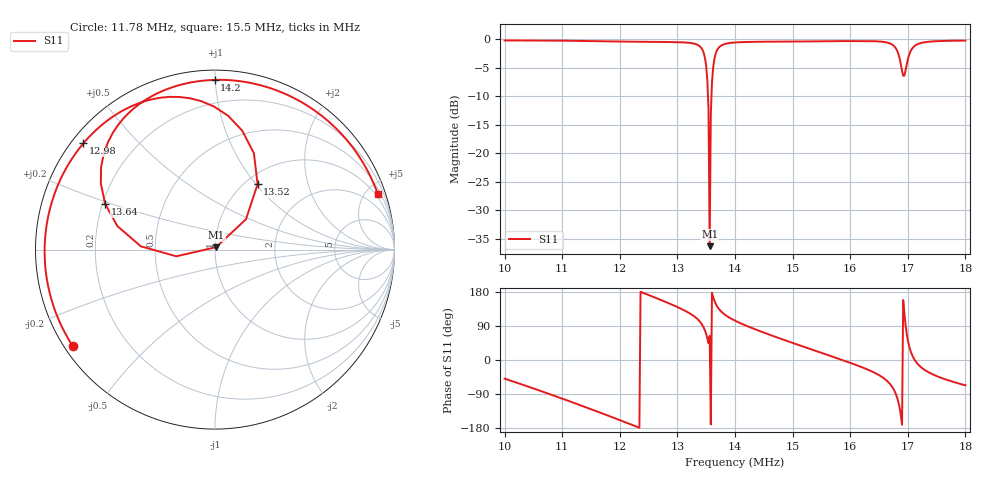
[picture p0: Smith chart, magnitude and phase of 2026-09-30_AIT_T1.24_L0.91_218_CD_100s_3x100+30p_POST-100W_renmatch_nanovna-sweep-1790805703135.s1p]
! NanoVNA Web complex sweep
! Processing: original sample grid, no browser smoothing
# Hz S RI R 50
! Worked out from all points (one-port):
!   401 points, 10 MHz to 18 MHz, reference 50 ohm
!   lowest |S11| = -36.3 dB at 13.56 MHz (marker M1), VSWR 1.03, Z = 50.7 + j1.4 ohm
!   |S11| at or under -10 dB: 13.53088 MHz to 13.59159 MHz (60.71 kHz wide, 0.448 % of centre)
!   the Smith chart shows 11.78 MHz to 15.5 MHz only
!   S11 on the Smith chart (normalised r, x): 11.78 MHz: 0.02, -0.31; 12.98 MHz: 0.03, +0.35; 13.52 MHz: 1.13, +1.02; 13.64 MHz: 0.21, +0.19; 14.2 MHz: 0.06, +1.00; 15.5 MHz: 0.77, +5.89
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1e7  0.6361 -0.7383
1.1e7  -0.1995 -0.9491
1.178e7  -0.7925 -0.5374
1.2e7  -0.8887 -0.3469
1.298e7  -0.7332 0.5921
1.3e7  -0.7185 0.6094
1.344e7  -0.00499 0.7969
1.35e7  0.2168 0.5367
1.352e7  0.2372 0.3646
1.356e7  0.00682 0.0138
1.36e7  -0.4132 0.0183
1.364e7  -0.6119 0.255
1.378e7  -0.5118 0.729
1.4e7  -0.2235 0.9091
1.42e7  -0.00254 0.9455
1.5e7  0.6738 0.6758
1.55e7  0.9063 0.3115
1.6e7  0.9529 -0.1255
1.65e7  0.7331 -0.6132
1.676e7  0.1671 -0.8553
1.684e7  -0.2906 -0.6736
1.69e7  -0.5212 -0.0824
1.696e7  -0.044 0.5264
1.7e7  0.4018 0.5286
1.708e7  0.8167 0.1659
1.718e7  0.8899 -0.1855
1.748e7  0.7238 -0.6303
1.8e7  0.3812 -0.8947
